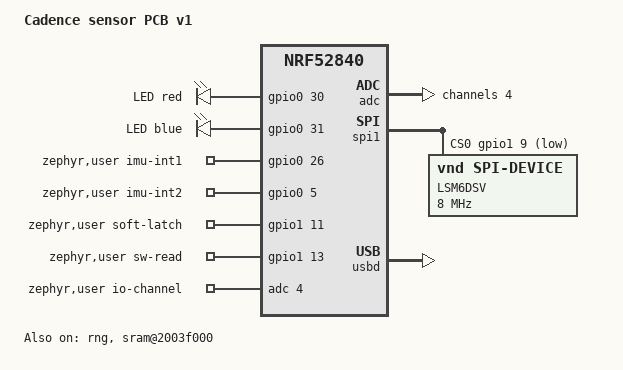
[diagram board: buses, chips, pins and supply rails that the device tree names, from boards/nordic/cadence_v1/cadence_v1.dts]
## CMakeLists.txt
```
#
# Bicycle cadence sensor firmware
# SPDX-License-Identifier: Apache-2.0
#
cmake_minimum_required(VERSION 3.20.0)

# Custom board lives in-tree under boards/nordic/cadence_rft. Also passed on
# the command line by tools/flash.command, because sysbuild resolves the board
# for the MCUboot image before this file is ever read.
list(APPEND BOARD_ROOT ${CMAKE_CURRENT_SOURCE_DIR})

find_package(Zephyr REQUIRED HINTS $ENV{ZEPHYR_BASE})
project(cadence_sensor)

target_sources(app PRIVATE
  src/main.c
  src/cadence.c
  src/ble_csc.c
  src/lsm6dsv.c
  src/battery.c
)
target_include_directories(app PRIVATE src)
```

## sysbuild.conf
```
# Build MCUboot alongside the app, so the sensor can be updated over USB
# without ever opening the case for SWD.
SB_CONFIG_BOOTLOADER_MCUBOOT=y

# Unsigned images.
#
# This has to be set HERE and not in sysbuild/mcuboot.conf — sysbuild owns the
# signature type and overwrites whatever the image-level config says. Left at
# the NCS default, MCUboot builds with ECDSA-P256 + tinycrypt and grows past
# the bootloader partition.
#
# Dropping the signature costs nothing real: the default NCS setup signs with a
# published development key, so it authenticates nothing. Images are still
# SHA-256 checked. If these ever ship, generate a private key, point
# SB_CONFIG_BOOT_SIGNATURE_KEY_FILE at it, switch to ECDSA_P256, and grow the
# mcuboot partition in pm_static.yml to 160 KB.
SB_CONFIG_BOOT_SIGNATURE_TYPE_NONE=y
```

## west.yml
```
# West manifest for the cadence sensor firmware (self-contained app).
#
# To build standalone, create a workspace and pull the nRF Connect SDK:
#   ./setup_workspace.command
# Developed against NCS 3.3.0-preview3 (Zephyr 4.3), the same revision the
# FindMyTag, JAVELYTICS and RideFormTracker firmwares use — one checkout can
# serve all of them.
manifest:
  version: "1.2"
  projects:
    - name: sdk-nrf
      path: nrf
      url: https://github.com/nrfconnect/sdk-nrf.git
      revision: v3.3.0-preview3-branch
      import: true
```

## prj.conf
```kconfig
# Cadence sensor — application configuration
# SPDX-License-Identifier: Apache-2.0

# --- core peripherals ---
CONFIG_GPIO=y
CONFIG_SPI=y
CONFIG_PINCTRL=y
# SAADC, for the battery divider. Boards that cannot see their own battery
# (no io-channels in their zephyr,user node) still build; src/battery.c
# compiles to stubs and reports itself absent.
CONFIG_ADC=y

# --- floating point ---
# The cadence detector runs an angle unwrapper with atan2f/sqrtf per sample.
# On the M4F that is single-cycle-ish hardware; in software emulation it would
# not fit the 64 Hz budget. SHARING because the console prints floats from a
# different thread than the sampler.
CONFIG_FPU=y
CONFIG_FPU_SHARING=y

# --- Bluetooth: Cycling Speed and Cadence peripheral ---
CONFIG_BT=y
CONFIG_BT_PERIPHERAL=y
CONFIG_BT_BROADCASTER=y
CONFIG_BT_CENTRAL=n
CONFIG_BT_OBSERVER=n
# The name a rider picks out of a scan list. ble_csc.c appends "-XXXX" from the
# factory device id and pushes the result into BOTH the advertisement and the
# GAP Device Name characteristic, so change it here and it changes everywhere.
# Keep it short: head unit displays are narrow, and the whole string has to fit
# the 31-byte scan response alongside nothing else, so ~20 chars is the ceiling.
CONFIG_BT_DEVICE_NAME="Cadence"
# bt_set_name() needs the name to be writable at runtime.
CONFIG_BT_DEVICE_NAME_DYNAMIC=y
CONFIG_BT_DEVICE_NAME_MAX=24
# ...but only by US. DYNAMIC defaults GATT_WRITABLE on, which with SMP=n means
# any device that can connect can rename the sensor, unauthenticated. Nothing
# needs that: the name is set once at boot from the factory device id.
CONFIG_BT_DEVICE_NAME_GATT_WRITABLE=n
# Appearance = (category 0x12 "Cycling" << 6) | subcategory 3 "Cadence Sensor".
# Not 1157, which is "Speed and Cadence Sensor" — this one cannot see the wheel.
CONFIG_BT_DEVICE_APPEARANCE=1155

# No pairing. The CSC profile does not require encryption, nothing here is
# writable, and a sensor that demands bonding is a sensor that shows up in an
# OS pairing list and eventually has to be forgotten from it. Head units
# connect to a plain unencrypted CSC sensor without any of that.
CONFIG_BT_SMP=n
CONFIG_BT_BONDABLE=n
CONFIG_BT_PRIVACY=n

# Two simultaneous links, so a head unit and a phone can both watch at once.
#
# This is where BLE differs from ANT+ in a way that is easy to be caught out by.
# ANT+ sensors BROADCAST, so any number of receivers can listen to one sensor
# and none of them excludes the others. CSC over BLE runs on a GATT connection
# instead, which is point to point: a peripheral that allows one link belongs
# entirely to whichever device connects first, and the phone then cannot see the
# sensor at all while the bike computer has it (or the other way round). Two is
# the number that actually comes up — bike computer plus phone.
#
# Cost is a connection's worth of RAM and roughly 55 uA while the second link is
# up. Against the whole budget (tools/power_budget.py) that is about 7 % of
# battery life, because riding is only one hour in twenty-four.
CONFIG_BT_MAX_CONN=2

# Battery Service (a head unit shows the sensor's battery next to its own) and
# Device Information.
CONFIG_BT_BAS=y
CONFIG_BT_DIS=y
CONFIG_BT_DIS_MANUF_NAME=y
CONFIG_BT_DIS_MANUF_NAME_STR="tettou771"
CONFIG_BT_DIS_MODEL_NUMBER=y
CONFIG_BT_DIS_MODEL_NUMBER_STR="Cadence Sensor"

# Connection parameters. A cadence sensor sends at most ~3 notifications per
# second (200 rpm), so a short connection interval buys nothing and costs
# battery. Latency 4 lets the peripheral skip up to four connection events
# when it has nothing to say, which is most of them while coasting.
# Supervision timeout must exceed (latency+1) * max_int * 2 = 600 ms; 4 s
# leaves room for a rider disappearing behind a bus.
# Units: intervals are 1.25 ms, timeout is 10 ms. So 24 = 30 ms, 48 = 60 ms,
# 400 = 4 s. (Kconfig has no inline comments — a trailing # here is part of
# the value and the assignment gets silently dropped.)
CONFIG_BT_PERIPHERAL_PREF_MIN_INT=24
CONFIG_BT_PERIPHERAL_PREF_MAX_INT=48
CONFIG_BT_PERIPHERAL_PREF_LATENCY=4
CONFIG_BT_PERIPHERAL_PREF_TIMEOUT=400

# --- USB CDC-ACM ---
# Two endpoints, split by job (see the dts): uart0 is the human console,
# uart1 is the mcumgr SMP channel firmware updates arrive on.
#
# Not initialized at boot: main() brings USB up only when VBUS is present, so
# a battery-powered sensor never pays for USB enumeration.
CONFIG_USB_DEVICE_STACK=y
CONFIG_USB_DEVICE_STACK_NEXT=n
CONFIG_USB_DEVICE_MANUFACTURER="tettou771"
CONFIG_USB_DEVICE_PRODUCT="Cadence Sensor"
CONFIG_USB_DEVICE_VID=0x1209
CONFIG_USB_DEVICE_PID=0x7695
CONFIG_USB_CDC_ACM=y
CONFIG_USB_DEVICE_INITIALIZE_AT_BOOT=n
CONFIG_SERIAL=y
CONFIG_UART_INTERRUPT_DRIVEN=y
CONFIG_UART_LINE_CTRL=y
CONFIG_CONSOLE=y
CONFIG_UART_CONSOLE=y

# --- USB firmware update: MCUboot + mcumgr SMP over the 2nd CDC-ACM ---
# The app is built MCUboot-signed (sysbuild.conf builds the bootloader). SMP
# runs on cdc_acm_uart1 (dts: chosen zephyr,uart-mcumgr) so the console stays a
# clean stream. The host uploads to the secondary slot and issues an SMP reset;
# MCUboot swaps the image in on the next boot. No probe, no power cycle, and
# no bootloader DFU window to hit.
CONFIG_BOOTLOADER_MCUBOOT=y
CONFIG_MCUMGR=y
CONFIG_MCUMGR_TRANSPORT_UART=y
CONFIG_MCUMGR_GRP_IMG=y
CONFIG_MCUMGR_GRP_OS=y
CONFIG_IMG_MANAGER=y
CONFIG_STREAM_FLASH=y
CONFIG_NET_BUF=y
CONFIG_ZCBOR=y
CONFIG_BASE64=y
CONFIG_CRC=y                             # SMP frames are CRC16-checked
CONFIG_FLASH=y
CONFIG_FLASH_MAP=y
CONFIG_FLASH_PAGE_LAYOUT=y
CONFIG_MPU_ALLOW_FLASH_WRITE=y

# --- logging ---
# Deferred so a log call from the sampler thread never blocks it on USB; the
# sampler missing its deadline would corrupt revolution timestamps, which is
# the one thing this firmware cannot afford to get wrong.
CONFIG_LOG=y
CONFIG_LOG_MODE_DEFERRED=y
CONFIG_CBPRINTF_FP_SUPPORT=y
CONFIG_BOOT_BANNER=n

# --- power / clocks ---
CONFIG_REBOOT=y
# sys_poweroff() - the sensor drops to System OFF after ten quiet minutes and
# is woken by the IMU's interrupt line. See SYSTEM_OFF_MS in src/main.c.
CONFIG_POWEROFF=y
CONFIG_PM_DEVICE=y

# Retained RAM across System OFF, for the lifetime counters in src/main.c.
# RETAINED_MEM_NRF_RAM_CTRL is what re-enables retention for the region the
# board's devicetree declares, immediately after sys_poweroff() has disabled it
# for all of RAM. It defaults to y once the other two are set and a
# zephyr,retained-ram node exists, so it is not repeated here.
CONFIG_RETAINED_MEM=y
CONFIG_RETAINED_MEM_ZEPHYR_RAM=y

CONFIG_MAIN_STACK_SIZE=2048
CONFIG_HEAP_MEM_POOL_SIZE=2048
```

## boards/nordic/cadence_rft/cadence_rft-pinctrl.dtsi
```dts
// Copyright (c) 2026
// SPDX-License-Identifier: Apache-2.0
//
// Pin assignments come straight from RideFormTracker PCB v1.1 — this is the
// same physical board as the FindMyTag bring-up target, only the payload
// firmware differs.

&pinctrl {
	/* SPIM1 — LSM6DSV (MOSI P0.06, MISO P0.04, SCK P0.08; CS is a GPIO) */
	spi1_default: spi1_default {
		group1 {
			psels = <NRF_PSEL(SPIM_MOSI, 0, 6)>,
				<NRF_PSEL(SPIM_MISO, 0, 4)>,
				<NRF_PSEL(SPIM_SCK, 0, 8)>;
		};
	};

	spi1_sleep: spi1_sleep {
		group1 {
			psels = <NRF_PSEL(SPIM_MOSI, 0, 6)>,
				<NRF_PSEL(SPIM_MISO, 0, 4)>,
				<NRF_PSEL(SPIM_SCK, 0, 8)>;
			low-power-enable;
		};
	};
};
```

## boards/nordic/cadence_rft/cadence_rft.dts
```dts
// Copyright (c) 2026
// SPDX-License-Identifier: Apache-2.0
//
// Cadence sensor bring-up target: RideFormTracker PCB **v1.0** (MDBT50Q-1MV2 /
// nRF52840, LSM6DSV over SPI). The QSPI flash and the magnetometer that this
// PCB carries are deliberately left disabled — a crank-mounted cadence sensor
// will not have them, so nothing in the firmware may grow a dependency on them.
//
// v1.0 vs v1.1: only the RGB LED pins differ, see the leds node below.
//
// See HARDWARE.md for the full pin table.

/dts-v1/;
#include <nordic/nrf52840_qiaa.dtsi>
#include "cadence_rft-pinctrl.dtsi"

/ {
	model = "Cadence sensor (RFT PCB v1.1)";
	compatible = "nordic,cadence-rft";

	chosen {
		zephyr,sram = &sram0;
		zephyr,flash = &flash0;
		zephyr,code-partition = &slot0_partition;
		zephyr,console = &cdc_acm_uart0;      /* diagnostics console  */
		zephyr,uart-mcumgr = &cdc_acm_uart1;  /* SMP firmware updates */
		/* nrf52840.dtsi points this at &cryptocell, which we disable
		 * below — the plain RNG peripheral is a hardware TRNG too, and
		 * the BLE stack's entropy needs are modest. */
		zephyr,entropy = &rng;
	};

	/* RGB LED (D1, common anode → active LOW).
	 *
	 * ==> PCB v1.0 pin assignment. <==
	 *
	 * This is the ONLY thing that differs between RideFormTracker v1.0 and
	 * v1.1 as far as this firmware is concerned — SPI, both IMU interrupts,
	 * the crystal, USB and SWD are identical on both. For v1.1 swap in:
	 *
	 *     led_r  &gpio0 30      (pad 14)
	 *     led_g  &gpio0 29      (pad 10)
	 *     led_b  &gpio0 31      (pad 12)
	 *
	 * Note P0.28 is LED_R here but the magnetometer's I2C SDA on v1.1, so
	 * this file is genuinely revision-specific and not merely cosmetic.
	 * Getting it wrong costs only the LEDs though: nothing in the cadence
	 * path touches them, and they are lit only while USB is attached.
	 */
	leds {
		compatible = "gpio-leds";
		led_r: led_red {
			gpios = <&gpio0 28 GPIO_ACTIVE_LOW>;   /* pad 13 */
			label = "LED red";
		};
		led_g: led_green {
			gpios = <&gpio0 31 GPIO_ACTIVE_LOW>;   /* pad 12 */
			label = "LED green";
		};
		led_b: led_blue {
			gpios = <&gpio0 30 GPIO_ACTIVE_LOW>;   /* pad 14 */
			label = "LED blue";
		};
	};

	aliases {
		led-red = &led_r;
		led-green = &led_g;
		led-blue = &led_b;
		watchdog0 = &wdt0;
	};

	/* LSM6DSV interrupt lines, driven by our own driver (no Zephyr sensor
	 * driver — see src/lsm6dsv.c for why). INT1 carries wake-up, which is
	 * what pulls the sampler out of its idle state. */
	zephyr,user {
		imu-int1-gpios = <&gpio0 26 GPIO_ACTIVE_HIGH>;
		imu-int2-gpios = <&gpio0 5 GPIO_ACTIVE_HIGH>;
	};
};

/* DC/DC regulator: this runs off a battery on a crank arm and advertises
 * whenever the bike is moving, so the ~40% saving on radio TX current is the
 * single biggest battery win available. */
&reg1 {
	regulator-initial-mode = <NRF5X_REG_MODE_DCDC>;
};

&gpiote {
	status = "okay";
};

&rng {
	status = "okay";
};

&gpio0 {
	status = "okay";
};

&gpio1 {
	status = "okay";
};

/* SPIM1 — LSM6DSV 6-axis IMU. CS is P1.09 on this PCB. */
&spi1 {
	compatible = "nordic,nrf-spim";
	status = "okay";
	max-frequency = <DT_FREQ_M(8)>;
	pinctrl-0 = <&spi1_default>;
	pinctrl-1 = <&spi1_sleep>;
	pinctrl-names = "default", "sleep";
	cs-gpios = <&gpio1 9 GPIO_ACTIVE_LOW>;

	lsm6dsv: lsm6dsv@0 {
		compatible = "vnd,spi-device";
		reg = <0>;
		spi-max-frequency = <DT_FREQ_M(8)>;
		label = "LSM6DSV";
	};
};

/* Two USB CDC-ACM endpoints, deliberately split:
 *   uart0 = the human console (status, live cadence, raw accel)
 *   uart1 = mcumgr SMP, i.e. how new firmware gets in over the USB cable
 * Keeping them apart means a firmware upload never has to fight the console
 * for the same byte stream, and a chatty console can never corrupt an upload.
 */
zephyr_udc0: &usbd {
	compatible = "nordic,nrf-usbd";
	status = "okay";
	cdc_acm_uart0: cdc_acm_uart0 {
		compatible = "zephyr,cdc-acm-uart";
	};
	cdc_acm_uart1: cdc_acm_uart1 {
		compatible = "zephyr,cdc-acm-uart";
	};
};

/* Not populated / not used by the cadence sensor. */
&qspi {
	status = "disabled";
};

&i2c1 {
	status = "disabled";
};

&cryptocell {
	status = "disabled";
};

&nfct {
	status = "disabled";
};

/* Internal flash layout — MCUboot + two image slots + NVS.
 * Kept identical to the FindMyTag layout so a board can be moved between the
 * two firmwares without its NVS contents landing at a different address.
 * pm_static.yml pins the same numbers for the Partition Manager. */
&flash0 {
	partitions {
		compatible = "fixed-partitions";
		#address-cells = <1>;
		#size-cells = <1>;

		boot_partition: partition@0 {
			label = "mcuboot";
			reg = <0x0 0x20000>; /* 128 KB */
		};
		slot0_partition: partition@20000 {
			label = "image-0";
			reg = <0x20000 0x68000>; /* 416 KB */
		};
		slot1_partition: partition@88000 {
			label = "image-1";
			reg = <0x88000 0x68000>; /* 416 KB */
		};
		storage_partition: partition@f0000 {
			label = "storage";
			reg = <0xf0000 0x10000>; /* 64 KB NVS */
		};
	};
};
```

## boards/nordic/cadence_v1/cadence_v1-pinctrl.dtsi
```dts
// Copyright (c) 2026
// SPDX-License-Identifier: Apache-2.0
//
// Pin assignments from KiCad/BikeSensor (BikeSensor.kicad_sch). The SPI bus is
// wired identically to the RideFormTracker bring-up board, which is why the
// IMU driver needed no changes when the PCB did.

&pinctrl {
	/* SPIM1 — LSM6DSV (MOSI P0.06, MISO P0.04, SCK P0.08; CS is a GPIO) */
	spi1_default: spi1_default {
		group1 {
			psels = <NRF_PSEL(SPIM_MOSI, 0, 6)>,
				<NRF_PSEL(SPIM_MISO, 0, 4)>,
				<NRF_PSEL(SPIM_SCK, 0, 8)>;
		};
	};

	spi1_sleep: spi1_sleep {
		group1 {
			psels = <NRF_PSEL(SPIM_MOSI, 0, 6)>,
				<NRF_PSEL(SPIM_MISO, 0, 4)>,
				<NRF_PSEL(SPIM_SCK, 0, 8)>;
			low-power-enable;
		};
	};
};
```

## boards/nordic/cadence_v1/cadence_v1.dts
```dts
// Copyright (c) 2026
// SPDX-License-Identifier: Apache-2.0
//
// Cadence sensor PCB v1 — the purpose-built board (KiCad/BikeSensor), 15 x 33
// mm, MDBT50Q-1MV2 / nRF52840 with an LSM6DSV over SPI.
//
// Differences from the cadence_rft bring-up target, all of them real:
//
//   LEDs        red P0.30 / blue P0.31, cathodes to ground so ACTIVE_HIGH.
//               There is no green: this board carries two LEDs, not an RGB.
//               (D8 is a third LED but it is the charger's status output and
//               is not reachable from the MCU.)
//   power       the 3.3 V rail is switched. See soft-latch-gpios below.
//   BAT_CHECK   P0.28, which unlike the bring-up board's P0.09 IS an analog
//               input (AIN4), so this board can finally measure its own
//               battery. Not yet read by the firmware.
//
// Everything else — SPI pins, both IMU interrupts, the crystal, USB, SWD — is
// identical to the bring-up board, which is why src/ needed no changes.
//
// See HARDWARE.md for the full pin table.

/dts-v1/;
#include <nordic/nrf52840_qiaa.dtsi>
#include <zephyr/dt-bindings/adc/adc.h>
#include <zephyr/dt-bindings/adc/nrf-saadc.h>
#include "cadence_v1-pinctrl.dtsi"

/* The last 4 KB of SRAM, kept alive across System OFF.
 *
 * Not a micro-optimisation — it is the only instrument this board has. Waking
 * from System OFF is a reset, so uptime and every counter start again, and the
 * question the field keeps asking ("the pack went flat in eight days, WHERE did
 * it go?") cannot be answered by a board that forgets. This holds the running
 * totals in src/main.c across every sleep.
 *
 * It has to be declared HERE, in the devicetree, rather than just setting the
 * retention bits before sleeping. sys_poweroff() calls
 * nrfx_ram_ctrl_retention_enable_set(.., false) over ALL of RAM on its way out
 * — so anything set by hand beforehand is switched off again two lines later,
 * silently. The next statement in that function restores retention for exactly
 * the regions a zephyr,retained-ram node describes, which is this one. Setting
 * the bits by hand was tried first and the counters still came back empty.
 *
 * sram0 is shortened to match. 252 KB is far more than this application needs
 * (it links against 48 KB), and the kernel must not be handed memory that is
 * also being used for something else.
 */
&sram0 {
	reg = <0x20000000 0x3f000>;
};

/ {
	model = "Cadence sensor PCB v1";
	compatible = "nordic,cadence-v1";

	sram@2003f000 {
		compatible = "zephyr,memory-region", "mmio-sram";
		reg = <0x2003f000 0x1000>;
		zephyr,memory-region = "RETAINED";
		status = "okay";

		/* The driver takes its address and size from this node's
		 * PARENT, which is what puts the whole 4 KB under retention.
		 * Nothing calls the retained_mem API — main.c places its
		 * counters in the region directly and uses them as ordinary
		 * variables. This node exists so that poweroff knows the region
		 * is worth keeping. */
		retained_mem: retainedmem {
			compatible = "zephyr,retained-ram";
			status = "okay";
			#address-cells = <1>;
			#size-cells = <1>;
		};
	};

	chosen {
		zephyr,sram = &sram0;
		zephyr,flash = &flash0;
		zephyr,code-partition = &slot0_partition;
		zephyr,console = &cdc_acm_uart0;      /* diagnostics console  */
		zephyr,uart-mcumgr = &cdc_acm_uart1;  /* SMP firmware updates */
		/* nrf52840.dtsi points this at &cryptocell, which we disable
		 * below — the plain RNG peripheral is a hardware TRNG too, and
		 * the BLE stack's entropy needs are modest. */
		zephyr,entropy = &rng;
	};

	/* Two discrete LEDs, D5 (red) and D3 (blue), each with its cathode to
	 * ground through a series resistor — so ACTIVE_HIGH here, the opposite
	 * of the common-anode RGB part on the bring-up board. Getting this
	 * backwards is not merely cosmetic on a battery device: an inverted
	 * ACTIVE_LOW spec would leave both LEDs lit whenever the firmware
	 * believes them off, which on this design is milliamps against a
	 * microamp budget. */
	leds {
		compatible = "gpio-leds";
		led_r: led_red {
			gpios = <&gpio0 30 GPIO_ACTIVE_HIGH>;
			label = "LED red";
		};
		led_b: led_blue {
			gpios = <&gpio0 31 GPIO_ACTIVE_HIGH>;
			label = "LED blue";
		};
	};

	aliases {
		led-red = &led_r;
		led-blue = &led_b;
		watchdog0 = &wdt0;
	};

	zephyr,user {
		/* LSM6DSV interrupt lines, driven by our own driver (no Zephyr
		 * sensor driver — see src/lsm6dsv.c for why). INT1 carries
		 * wake-up, which is what pulls the sampler out of its idle
		 * state. */
		imu-int1-gpios = <&gpio0 26 GPIO_ACTIVE_HIGH>;
		imu-int2-gpios = <&gpio0 5 GPIO_ACTIVE_HIGH>;

		/* THE BOARD'S OWN POWER SWITCH.
		 *
		 * The 3.3 V LDO (U9, TPS7A0233) has an enable pin held up by
		 * either of two things: the momentary button SW2 through D2,
		 * or this GPIO through R12. The button alone cannot keep the
		 * board running — release it with this pin low and the supply
		 * collapses, taking the MCU with it. So asserting the latch is
		 * not a nicety, it is the difference between a board that runs
		 * and a board that only runs while a finger is on it.
		 *
		 * sw-read-gpios is the other side of the same circuit: the
		 * button voltage divided 100k/330k, high while pressed. It is
		 * what lets the firmware distinguish "a human turned this on"
		 * from "something leaked onto the enable node". */
		soft-latch-gpios = <&gpio1 11 GPIO_ACTIVE_HIGH>;
		sw-read-gpios = <&gpio1 13 GPIO_ACTIVE_HIGH>;

		/* BAT_CHECK on P0.28 = AIN4. The bring-up board wired the same
		 * signal to P0.09, which has no analog function at all, so this
		 * property is the difference between a board that can report
		 * its battery and one that cannot. src/battery.c keys off it. */
		io-channels = <&adc 4>;

		/* R10 + R11, both 1 M: the pin sees half the pack. Kept here
		 * rather than in the C so the divider and the ADC channel are
		 * described in the same place, and changing the resistors on a
		 * future board does not mean editing a driver. */
		battery-divider-num = <2>;
		battery-divider-den = <1>;
	};
};

/* SAADC for BAT_CHECK.
 *
 * Internal 0.6 V reference with 1/6 gain puts full scale at 3.6 V, and the
 * divider halves a 4.2 V pack to 2.1 V, so the whole usable range lands
 * comfortably inside it with no clipping at the top.
 *
 * 40 us acquisition is not a round number picked for luck: the source is
 * R10 || R11 = 500 kohm, and the nRF52840 SAADC's own table allows up to
 * 800 kohm at exactly this setting. Shortening it would leave the sampling
 * capacitor unable to charge and would read low.
 */
&adc {
	status = "okay";
	#address-cells = <1>;
	#size-cells = <0>;

	channel@4 {
		reg = <4>;
		zephyr,gain = "ADC_GAIN_1_6";
		zephyr,reference = "ADC_REF_INTERNAL";
		zephyr,acquisition-time = <ADC_ACQ_TIME(ADC_ACQ_TIME_MICROSECONDS, 40)>;
		zephyr,input-positive = <NRF_SAADC_AIN4>;
		zephyr,resolution = <12>;
	};
};

/* DC/DC regulator: this runs off a battery on a crank arm and advertises
 * whenever the bike is moving, so the ~40% saving on radio TX current is the
 * single biggest battery win available. */
&reg1 {
	regulator-initial-mode = <NRF5X_REG_MODE_DCDC>;
};

&gpiote {
	status = "okay";
};

&rng {
	status = "okay";
};

&gpio0 {
	status = "okay";
};

&gpio1 {
	status = "okay";
};

/* SPIM1 — LSM6DSV 6-axis IMU. CS is P1.09 on this PCB.
 *
 * SPIM1 and not SPIM3, which is what this used to be. nRF52840 anomaly 195 has
 * SPIM3 go on drawing several hundred microamps after use, and the workaround
 * in nrfx (a write to 0x4002F004) lives inside nrfx_spim_uninit() — a function
 * Zephyr only reaches when the device is suspended, which needs system power
 * management this application does not run. So the fix shipped in the SDK
 * never executed, and a parked sensor measured 554 uA instead of the ~10 uA it
 * was designed for. That one peripheral was most of a week's battery.
 *
 * Nothing is lost by moving. SPIM3's advantage is 32 MHz; this bus runs at 8,
 * which SPIM0/1/2 reach, and it uses none of SPIM3's extended features. i2c1
 * shares the instance and is disabled below, so instance 1 is free.
 */
&spi1 {
	compatible = "nordic,nrf-spim";
	status = "okay";
	max-frequency = <DT_FREQ_M(8)>;
	pinctrl-0 = <&spi1_default>;
	pinctrl-1 = <&spi1_sleep>;
	pinctrl-names = "default", "sleep";
	cs-gpios = <&gpio1 9 GPIO_ACTIVE_LOW>;

	lsm6dsv: lsm6dsv@0 {
		compatible = "vnd,spi-device";
		reg = <0>;
		spi-max-frequency = <DT_FREQ_M(8)>;
		label = "LSM6DSV";
	};
};

/* Two USB CDC-ACM endpoints, deliberately split:
 *   uart0 = the human console (status, live cadence, raw accel)
 *   uart1 = mcumgr SMP, i.e. how new firmware gets in over the USB cable
 * Keeping them apart means a firmware upload never has to fight the console
 * for the same byte stream, and a chatty console can never corrupt an upload.
 */
zephyr_udc0: &usbd {
	compatible = "nordic,nrf-usbd";
	status = "okay";
	cdc_acm_uart0: cdc_acm_uart0 {
		compatible = "zephyr,cdc-acm-uart";
	};
	cdc_acm_uart1: cdc_acm_uart1 {
		compatible = "zephyr,cdc-acm-uart";
	};
};

/* Not populated / not used by the cadence sensor. */
&qspi {
	status = "disabled";
};

&i2c1 {
	status = "disabled";
};

&cryptocell {
	status = "disabled";
};

&nfct {
	status = "disabled";
};

/* Internal flash layout — MCUboot + two image slots + NVS.
 * Kept identical to the bring-up board so an image built for one can be
 * flashed to the other without moving the NVS contents.
 * pm_static.yml pins the same numbers for the Partition Manager. */
&flash0 {
	partitions {
		compatible = "fixed-partitions";
		#address-cells = <1>;
		#size-cells = <1>;

		boot_partition: partition@0 {
			label = "mcuboot";
			reg = <0x0 0x20000>; /* 128 KB */
		};
		slot0_partition: partition@20000 {
			label = "image-0";
			reg = <0x20000 0x68000>; /* 416 KB */
		};
		slot1_partition: partition@88000 {
			label = "image-1";
			reg = <0x88000 0x68000>; /* 416 KB */
		};
		storage_partition: partition@f0000 {
			label = "storage";
			reg = <0xf0000 0x10000>; /* 64 KB NVS */
		};
	};
};
```

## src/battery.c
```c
/*
 * Battery voltage over the nRF52840 SAADC — see battery.h.
 *
 * SPDX-License-Identifier: Apache-2.0
 */
#include "battery.h"

#include <zephyr/devicetree.h>
#include <zephyr/drivers/adc.h>
#include <zephyr/logging/log.h>

LOG_MODULE_REGISTER(battery, LOG_LEVEL_INF);

#define ZUSER DT_PATH(zephyr_user)

#if DT_NODE_HAS_PROP(ZUSER, io_channels)

static const struct adc_dt_spec batt_adc = ADC_DT_SPEC_GET(ZUSER);

/* The divider between the pack and the ADC pin, as a multiplier back to the
 * real voltage. Taken from the devicetree so the board file stays the single
 * place the hardware is described. */
#define DIVIDER_NUM DT_PROP(ZUSER, battery_divider_num)
#define DIVIDER_DEN DT_PROP(ZUSER, battery_divider_den)

/* Averaged, because this is a high-impedance node. The divider is 1 Mohm over
 * 1 Mohm, i.e. 500 kohm of source impedance, which the SAADC can track at the
 * 40 us acquisition time the board file asks for but with no margin to spare.
 * Eight samples cost about 300 us and take the ADC's own noise out of a number
 * a rider will read as a percentage. */
#define SAMPLES 8

static bool ready;

int battery_init(void)
{
	if (!adc_is_ready_dt(&batt_adc)) {
		LOG_ERR("ADC not ready");
		return -ENODEV;
	}

	int err = adc_channel_setup_dt(&batt_adc);

	if (err) {
		LOG_ERR("adc_channel_setup: %d", err);
		return err;
	}

	ready = true;

	return 0;
}

bool battery_present(void)
{
	return ready;
}

/* Terminal voltage against state of charge for a single lithium-polymer cell,
 * descending. Interpolated linearly between neighbours.
 *
 * MEASURED, not assumed. These points come from a full discharge of an EEMB
 * 150 mAh cell of the same class on another board in this workshop, logged over
 * 12.342 h until cutoff, and shared by the tdk-viewer session. The percentages
 * are that run's remaining time as a fraction of the whole, which is the same
 * thing as remaining charge because the load never changed.
 *
 * What it replaced was a table written from general knowledge of lithium
 * chemistry, and it was wrong in the worst possible place: it put 3700 mV at
 * 10 % where the real cell still had 60 %. The flattest part of the curve had
 * been given the steepest slope, so a pack a little over half full reported
 * itself nearly dead - and a drain being estimated from the reported figure
 * came out more than twice its real size.
 *
 * The other board discharged at roughly C/12 against this one's C/350, which
 * does not matter here: 12 mA through a cell of 200-400 mohm is 2-5 mV of IR
 * drop, so both curves are open-circuit voltage in all but name. Its ABSOLUTE
 * RATE is not transferable, only the shape.
 *
 * The 3600 mV point is the least certain of these - it is the flattest part of
 * the curve, where the source data's two derivations disagreed by 5 % and a
 * 20 mV measurement wobble moves the answer by several points. Everything else
 * agreed to within 1.5 %.
 */
static const struct {
	uint16_t mv;
	uint8_t pct;
} curve[] = {
	{4180, 100}, {4100, 98}, {4050, 94}, {4000, 90}, {3950, 84},
	{3900,  80}, {3850, 75}, {3800, 70}, {3750, 65}, {3700, 60},
	{3650,  54}, {3600, 45}, {3500, 19}, {3450, 12}, {3400,  7},
	{3300,   3}, {3000,  0},
};

static uint8_t mv_to_percent(uint16_t mv)
{
	if (mv >= curve[0].mv) {
		return 100;
	}

	for (size_t i = 1; i < ARRAY_SIZE(curve); i++) {
		if (mv >= curve[i].mv) {
			const uint16_t span = curve[i - 1].mv - curve[i].mv;
			const uint8_t rise = curve[i - 1].pct - curve[i].pct;

			return (uint8_t)(curve[i].pct +
					 ((uint32_t)(mv - curve[i].mv) * rise) /
						 span);
		}
	}

	return 0;
}

int battery_read(uint16_t *mv_out, uint8_t *pct_out)
{
	int16_t buf;
	struct adc_sequence seq = {
		.buffer = &buf,
		.buffer_size = sizeof(buf),
	};
	int32_t total = 0;

	if (!ready) {
		return -ENODEV;
	}

	(void)adc_sequence_init_dt(&batt_adc, &seq);

	for (int i = 0; i < SAMPLES; i++) {
		int err = adc_read_dt(&batt_adc, &seq);

		if (err) {
			LOG_WRN("adc_read: %d", err);
			return err;
		}

		int32_t val = buf;

		/* Converts in place, using the gain and reference the board
		 * file declared, so none of that arithmetic is repeated here
		 * and cannot disagree with the devicetree. */
		err = adc_raw_to_millivolts_dt(&batt_adc, &val);
		if (err) {
			LOG_WRN("adc_raw_to_millivolts: %d", err);
			return err;
		}

		total += val;
	}

	uint32_t pin_mv = (uint32_t)total / SAMPLES;
	uint32_t batt_mv = pin_mv * DIVIDER_NUM / DIVIDER_DEN;

	if (mv_out) {
		*mv_out = (uint16_t)batt_mv;
	}
	if (pct_out) {
		*pct_out = mv_to_percent((uint16_t)batt_mv);
	}

	return 0;
}

#else /* no io-channels: this board cannot see its own battery */

int battery_init(void)
{
	return -ENODEV;
}

bool battery_present(void)
{
	return false;
}

int battery_read(uint16_t *mv_out, uint8_t *pct_out)
{
	ARG_UNUSED(mv_out);
	ARG_UNUSED(pct_out);

	return -ENODEV;
}

#endif
```

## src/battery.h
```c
/*
 * Battery voltage, for the BLE Battery Service.
 *
 * Optional: a board declares it by giving its zephyr,user node an io-channels
 * property pointing at the ADC input the divider lands on. Boards that route
 * the divider somewhere the SAADC cannot see it (the RideFormTracker bring-up
 * board put it on P0.09, which has no analog function at all) simply leave the
 * property out, and battery_present() then reports false.
 *
 * SPDX-License-Identifier: Apache-2.0
 */
#ifndef BATTERY_H
#define BATTERY_H

#include <stdbool.h>
#include <stdint.h>

/* Set up the ADC channel. Safe to call on a board without one. */
int battery_init(void);

/* True once battery_init() has found a usable channel. */
bool battery_present(void);

/* Sample the pack.
 *
 * Returns the terminal voltage in millivolts and a state-of-charge percentage.
 * Both are out-parameters and either may be NULL.
 *
 * The percentage is derived from a lithium-polymer discharge curve, not from a
 * straight line between two voltages: a single cell spends most of its life
 * between 3.7 and 3.9 V and then falls off a cliff, so a linear map would
 * report about 40 % for most of the ride and then collapse.
 *
 * Treat it as advisory. It is an open-circuit approximation read under whatever
 * load the sensor happens to be applying, and it reads HIGH whenever USB is
 * attached: the charger sits on the same node, so during constant-current
 * charge the number tracks the cell's rising terminal voltage rather than its
 * resting one, and once charging finishes it is simply pinned at the
 * regulation voltage regardless of what the cell would settle back to.
 */
int battery_read(uint16_t *mv, uint8_t *percent);

#endif /* BATTERY_H */
```

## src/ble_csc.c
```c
/*
 * BLE Cycling Speed and Cadence peripheral — see ble_csc.h.
 *
 * SPDX-License-Identifier: Apache-2.0
 */
#include "ble_csc.h"
#include "cadence.h"

#include <zephyr/bluetooth/bluetooth.h>
#include <zephyr/bluetooth/conn.h>
#include <zephyr/bluetooth/gatt.h>
#include <zephyr/bluetooth/hci_types.h>
#include <zephyr/bluetooth/uuid.h>
#include <zephyr/bluetooth/services/bas.h>
#include <zephyr/kernel.h>
#include <zephyr/logging/log.h>
#include <zephyr/sys/byteorder.h>
#include <nrfx.h>
#include <stdio.h>
#include <string.h>

LOG_MODULE_REGISTER(ble_csc, LOG_LEVEL_INF);

/* What this sensor supports, declared ONCE.
 *
 * The CSC profile puts speed and cadence in one service and uses the same two
 * bit positions in two different places: the Feature characteristic (what the
 * sensor CAN do) and the Measurement flags (what THIS packet contains). Those
 * are easy to write separately and easy to get out of step, and claiming wheel
 * data you do not send is not a cosmetic mislabel — the collector reads the
 * four bytes after the flags as a wheel revolution count, so every crank field
 * lands at the wrong offset and the cadence it displays is garbage.
 *
 * So both are derived from this one definition, along with the PDU length and
 * the field offsets. A crank-mounted sensor cannot see the wheel; adding
 * CSC_WHEEL_BIT here would move the crank fields and change the length
 * automatically, and the assertions below would hold. */
#define CSC_WHEEL_BIT 0x01
#define CSC_CRANK_BIT 0x02

#define CSC_SUPPORTED (CSC_CRANK_BIT)

#define CSC_HAS_WHEEL (!!(CSC_SUPPORTED & CSC_WHEEL_BIT))
#define CSC_HAS_CRANK (!!(CSC_SUPPORTED & CSC_CRANK_BIT))

/* flags(1) [+ wheel revs(4) + wheel event(2)] [+ crank revs(2) + crank event(2)] */
#define CSC_WHEEL_OFFSET 1
#define CSC_CRANK_OFFSET (1 + (CSC_HAS_WHEEL ? 6 : 0))
#define CSC_MEAS_LEN     (CSC_CRANK_OFFSET + (CSC_HAS_CRANK ? 4 : 0))

BUILD_ASSERT(CSC_SUPPORTED != 0,
	     "a CSC sensor that reports neither wheel nor crank data is not a sensor");

/* The guard that matters. Setting CSC_WHEEL_BIT above would widen the PDU and
 * push the crank fields to offset 7 — correctly — but nothing in this firmware
 * writes bytes 1..6, so the sensor would transmit six bytes of stack garbage
 * as a wheel revolution count, and any collector would then read the crank
 * fields as valid data derived from it. That is the exact failure this whole
 * single-definition arrangement exists to prevent, so it is asserted rather
 * than left to whoever edits CSC_SUPPORTED next: flag wheel data only once
 * something actually fills pdu[CSC_WHEEL_OFFSET]. */
/* ASCII only in the message: GCC renders a UTF-8 dash as octal escapes in the
 * diagnostic, and an assertion nobody can read is an assertion that does not
 * do its job. */
BUILD_ASSERT(!CSC_HAS_WHEEL,
	     "CSC_WHEEL_BIT is set but nothing fills the wheel fields - "
	     "a crank-mounted sensor cannot see the wheel");
BUILD_ASSERT(CSC_MEAS_LEN == 5,
	     "crank-only CSC Measurement must be flags(1) + revs(2) + event(2)");

/* Sensor Location enumeration, 5 = "Left Crank". Nothing in the firmware
 * depends on which crank it is — the value is advisory, and some head units
 * display it. Change it here if the sensor ends up on the drive side. */
#define SENSOR_LOCATION_LEFT_CRANK 5

/* Placeholder battery level. See the note in ble_csc_init() for why it is 50
 * and not 100 — it is a debug marker, not an estimate, and it goes away the
 * moment a board can actually measure its battery. */
#define BATTERY_DEBUG_PERCENT 50

/* Sized from the Kconfig limit rather than a round number, so lengthening
 * CONFIG_BT_DEVICE_NAME cannot silently truncate the advertised name. */
static char s_name[CONFIG_BT_DEVICE_NAME_MAX + 1];
static char s_addr[BT_ADDR_LE_STR_LEN];
/* Links currently up, 0..CONFIG_BT_MAX_CONN. A count rather than a flag
 * because this sensor accepts more than one collector at a time — see the note
 * on CONFIG_BT_MAX_CONN in prj.conf for why that is not optional on BLE.
 * Written only from the connection callbacks, which all run on the same
 * thread, and read elsewhere as a single byte. */
static uint8_t s_conn_count;
static bool s_advertising;
static bool s_subscribed;

/* --- GATT --------------------------------------------------------------- */

static void meas_ccc_changed(const struct bt_gatt_attr *attr, uint16_t value)
{
	ARG_UNUSED(attr);

	/* Zephyr passes the AGGREGATE of every connection's CCC config, not the
	 * one that just changed, so this stays correct with two collectors
	 * attached: it means "at least one of them wants notifications". */
	s_subscribed = (value == BT_GATT_CCC_NOTIFY);
	LOG_INF("CSC notifications %s", s_subscribed ? "on" : "off");
}

static ssize_t read_feature(struct bt_conn *conn,
			    const struct bt_gatt_attr *attr, void *buf,
			    uint16_t len, uint16_t offset)
{
	ARG_UNUSED(attr);

	uint16_t feature = sys_cpu_to_le16(CSC_SUPPORTED);

	return bt_gatt_attr_read(conn, attr, buf, len, offset, &feature,
				 sizeof(feature));
}

static ssize_t read_location(struct bt_conn *conn,
			     const struct bt_gatt_attr *attr, void *buf,
			     uint16_t len, uint16_t offset)
{
	static const uint8_t location = SENSOR_LOCATION_LEFT_CRANK;

	return bt_gatt_attr_read(conn, attr, buf, len, offset, &location,
				 sizeof(location));
}

BT_GATT_SERVICE_DEFINE(csc_svc,
	BT_GATT_PRIMARY_SERVICE(BT_UUID_CSC),
	BT_GATT_CHARACTERISTIC(BT_UUID_CSC_MEASUREMENT, BT_GATT_CHRC_NOTIFY,
			       BT_GATT_PERM_NONE, NULL, NULL, NULL),
	BT_GATT_CCC(meas_ccc_changed,
		    BT_GATT_PERM_READ | BT_GATT_PERM_WRITE),
	BT_GATT_CHARACTERISTIC(BT_UUID_CSC_FEATURE, BT_GATT_CHRC_READ,
			       BT_GATT_PERM_READ, read_feature, NULL, NULL),
	BT_GATT_CHARACTERISTIC(BT_UUID_SENSOR_LOCATION, BT_GATT_CHRC_READ,
			       BT_GATT_PERM_READ, read_location, NULL, NULL),
);

/* attrs[1] is the CSC Measurement value attribute. */
#define CSC_MEAS_ATTR (&csc_svc.attrs[1])

void ble_csc_notify(void)
{
	struct cadence_state st;
	uint8_t pdu[CSC_MEAS_LEN];

	if (s_conn_count == 0 || !s_subscribed) {
		return;
	}

	cadence_get(&st);

	/* The flags byte says what follows, so it is the same value the Feature
	 * characteristic advertises — this sensor sends every field it claims,
	 * every time. */
	pdu[0] = CSC_SUPPORTED;
	sys_put_le16(st.revs, &pdu[CSC_CRANK_OFFSET]);
	sys_put_le16(st.last_event_1024, &pdu[CSC_CRANK_OFFSET + 2]);

	/* NULL fans the notification out to every connection that has enabled
	 * them, so a head unit and a phone each get the same measurement
	 * without this having to track how many collectors are attached. */
	int err = bt_gatt_notify(NULL, CSC_MEAS_ATTR, pdu, sizeof(pdu));

	if (err && err != -ENOTCONN) {
		LOG_WRN("notify: %d", err);
	}
}

/* --- advertising -------------------------------------------------------- */

static const struct bt_data ad[] = {
	BT_DATA_BYTES(BT_DATA_FLAGS, BT_LE_AD_GENERAL | BT_LE_AD_NO_BREDR),
	/* Head units scan for the service UUID, not for a name, so this is the
	 * element that actually gets the sensor discovered. */
	BT_DATA_BYTES(BT_DATA_UUID16_ALL,
		      BT_UUID_16_ENCODE(BT_UUID_CSC_VAL),
		      BT_UUID_16_ENCODE(BT_UUID_BAS_VAL)),
	/* Appearance, so a scanner can say "cadence sensor" BEFORE connecting.
	 * The same value also lives in the GAP service, but that one can only
	 * be read after a connection, which is too late to help someone
	 * choosing from a list. Derived from the Kconfig rather than written
	 * out, so the two cannot disagree. Costs 4 of the 22 spare bytes. */
	BT_DATA_BYTES(BT_DATA_GAP_APPEARANCE,
		      (CONFIG_BT_DEVICE_APPEARANCE & 0xff),
		      ((CONFIG_BT_DEVICE_APPEARANCE >> 8) & 0xff)),
};

static struct bt_data sd[] = {
	BT_DATA(BT_DATA_NAME_COMPLETE, s_name, 0),
};

void ble_csc_set_advertising(bool on)
{
	int err;

	/* Asking to be findable with every connection slot already taken is not
	 * an error, it is just nothing to do — the controller would reject the
	 * start for want of a connection object and main() calls this once a
	 * second, so letting it through would fill the log at 1 Hz. Folding it
	 * into `on` here rather than gating the call site keeps the caller
	 * expressing intent ("the bike is moving, be findable") and leaves this
	 * file the only thing that has to know how many links are free. */
	if (on && s_conn_count >= CONFIG_BT_MAX_CONN) {
		on = false;
	}

	if (on == s_advertising) {
		return;
	}

	if (on) {
		sd[0].data_len = (uint8_t)strlen(s_name);

		/* 100-150 ms. The profile wants a sensor to be found quickly
		 * when a rider powers up next to their head unit; this is the
		 * standard "fast connect" window, and advertising only runs
		 * while the bike is actually moving anyway. */
		err = bt_le_adv_start(BT_LE_ADV_CONN_FAST_2, ad, ARRAY_SIZE(ad),
				      sd, ARRAY_SIZE(sd));
		if (err) {
			LOG_ERR("adv start: %d", err);
			return;
		}
	} else {
		err = bt_le_adv_stop();
		if (err) {
			LOG_ERR("adv stop: %d", err);
			return;
		}
	}

	s_advertising = on;
}

/* --- connection --------------------------------------------------------- */

static void connected(struct bt_conn *conn, uint8_t err)
{
	ARG_UNUSED(conn);

	/* The controller has stopped advertising either way — on success
	 * because it is now connected, on failure because the attempt consumed
	 * the advertiser. Clearing the flag unconditionally is what lets the
	 * once-a-second call in main() start it again; leaving it set on the
	 * failure path would make the sensor go quiet until the next reboot.
	 *
	 * With a connection slot still free, that same restart is also the only
	 * thing that lets a SECOND collector find the sensor: a peripheral stops
	 * advertising the instant it is connected, so without this the first
	 * device to connect would keep the sensor to itself. */
	s_advertising = false;

	if (err) {
		LOG_WRN("connect failed: 0x%02x", err);
		return;
	}

	s_conn_count++;

	LOG_INF("connected (%u/%u)", s_conn_count, CONFIG_BT_MAX_CONN);
}

static void disconnected(struct bt_conn *conn, uint8_t reason)
{
	ARG_UNUSED(conn);

	if (s_conn_count > 0) {
		s_conn_count--;
	}

	/* s_subscribed is normally maintained by meas_ccc_changed(), which
	 * Zephyr calls as it clears the departing connection's CCC config;
	 * clearing it here too is unconditionally right once nothing is
	 * connected, and does not depend on the order of the two callbacks. */
	if (s_conn_count == 0) {
		s_subscribed = false;
	}

	LOG_INF("disconnected (0x%02x, %u/%u left)", reason, s_conn_count,
		CONFIG_BT_MAX_CONN);
}

BT_CONN_CB_DEFINE(conn_callbacks) = {
	.connected = connected,
	.disconnected = disconnected,
};

/* --- battery ------------------------------------------------------------ */

void ble_csc_set_battery(uint8_t percent)
{
	if (percent > 100) {
		percent = 100;
	}

	bt_bas_set_battery_level(percent);
}

/* --- init --------------------------------------------------------------- */

int ble_csc_init(void)
{
	/* Pin the identity to the factory device id BEFORE bt_enable().
	 *
	 * Zephyr otherwise generates a fresh random static address on every
	 * boot. For a cadence sensor that is not cosmetic: a head unit pairs
	 * the sensor once and then remembers it BY ADDRESS, so a sensor that
	 * changes address on every battery change appears as a new device the
	 * rider has to go and re-add. On macOS the same change also rotates
	 * the CoreBluetooth peripheral UUID. Deriving the address from FICR
	 * costs nothing to provision, survives a reflash, and needs no
	 * settings partition (a preset address is not persisted). */
	bt_addr_le_t addr = { .type = BT_ADDR_LE_RANDOM };

	sys_put_le32(NRF_FICR->DEVICEID[0], &addr.a.val[0]);
	sys_put_le16((uint16_t)NRF_FICR->DEVICEID[1], &addr.a.val[4]);
	addr.a.val[5] |= 0xC0; /* random static requires the top two bits set */

	int err = bt_id_create(&addr, NULL);

	if (err < 0) {
		LOG_WRN("bt_id_create: %d (falling back to a generated address)",
			err);
	}

	/* The advertised name. CONFIG_BT_DEVICE_NAME_PREFIX is the human part;
	 * the suffix comes from the factory device id so that two of these
	 * built from the same source are still tellable apart in a scan list.
	 */
	snprintf(s_name, sizeof(s_name), "%s-%04X", CONFIG_BT_DEVICE_NAME,
		 (unsigned int)(NRF_FICR->DEVICEID[0] & 0xffff));

	err = bt_enable(NULL);
	if (err) {
		LOG_ERR("bt_enable: %d", err);
		return err;
	}

	/* Push the same string into the GAP Device Name characteristic.
	 *
	 * Without this there are two different names: the one advertised in the
	 * scan response, and CONFIG_BT_DEVICE_NAME sitting in 0x2A00. Hosts
	 * differ over which they show and when — several display the advertised
	 * name while scanning and then replace it with the GAP name once
	 * connected, so the sensor a rider picked from a list is not the one
	 * their head unit ends up labelling. One name, set in one place. */
	err = bt_set_name(s_name);
	if (err) {
		LOG_WRN("bt_set_name: %d (GAP name stays '%s')", err,
			CONFIG_BT_DEVICE_NAME);
	}

	bt_addr_le_to_str(&addr, s_addr, sizeof(s_addr));

	/* Seed the Battery Service with a DELIBERATELY ODD CONSTANT, which
	 * main() then overwrites within a second on any board that can actually
	 * measure itself (see src/battery.c).
	 *
	 * 50 rather than 100 for a specific reason: 100 % is what a host shows
	 * when it has no battery information at all, so it is indistinguishable
	 * from the Battery Service never being written. 50 % cannot be confused
	 * with a default — a head unit showing half a battery means the
	 * plumbing works and only the measurement is missing.
	 *
	 * Which is exactly what it still means on the bring-up board, where
	 * BAT_CHECK landed on P0.09 and the nRF52840's analog inputs are
	 * P0.02-P0.05 and P0.28-P0.31 only. There the 50 % simply stays. */
	ble_csc_set_battery(BATTERY_DEBUG_PERCENT);

	LOG_INF("BLE up as %s (%s)", s_name, s_addr);

	return 0;
}

bool ble_csc_is_connected(void)
{
	return s_conn_count > 0;
}

uint8_t ble_csc_conn_count(void)
{
	return s_conn_count;
}

static void hang_up(struct bt_conn *conn, void *data)
{
	ARG_UNUSED(data);

	/* REMOTE_USER_TERM is the "the other end decided it was done" reason.
	 * A collector that sees it re-scans and reconnects on its own terms;
	 * one of the error reasons would have it retry immediately, which is
	 * the opposite of what a sensor going to sleep wants. */
	(void)bt_conn_disconnect(conn, BT_HCI_ERR_REMOTE_USER_TERM_CONN);
}

void ble_csc_disconnect_all(void)
{
	bt_conn_foreach(BT_CONN_TYPE_LE, hang_up, NULL);
}

bool ble_csc_is_advertising(void)
{
	return s_advertising;
}

const char *ble_csc_name(void)
{
	return s_name;
}

const char *ble_csc_addr_str(void)
{
	return s_addr;
}
```
